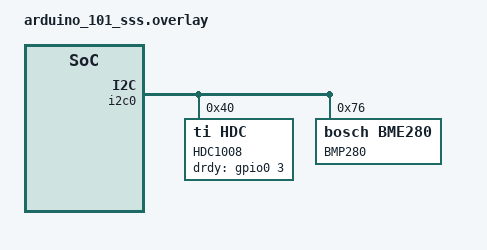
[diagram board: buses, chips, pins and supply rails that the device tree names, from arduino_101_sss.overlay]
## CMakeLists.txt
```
# SPDX-License-Identifier: Apache-2.0

cmake_minimum_required(VERSION 3.13.1)
include($ENV{ZEPHYR_BASE}/cmake/app/boilerplate.cmake NO_POLICY_SCOPE)
project(environmental_sensing_sensor)

target_include_directories(app PRIVATE $ENV{ZEPHYR_BASE}/drivers)
target_sources(app PRIVATE src/main.c)
```

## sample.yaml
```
sample:
  description: Environmental Sensing sample using BLE
    and sensor features on Arduino 101.
  name: Environmental Sensing (Sensor Subsystem Part)
tests:
  sample.board.arduino_101_sss.env_sensing:
    platform_whitelist: arduino_101_sss
    tags: sensors
    harness: sensor
```

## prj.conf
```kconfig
CONFIG_STDOUT_CONSOLE=y
CONFIG_PRINTK=y
CONFIG_IPM=y
CONFIG_IPM_QUARK_SE=y
CONFIG_IPM_CONSOLE_RECEIVER=y
CONFIG_CONSOLE=y
CONFIG_SERIAL=n
CONFIG_I2C=y
CONFIG_GPIO=y
CONFIG_SENSOR=y

# remove Grove configs you don't want to use the LCD
CONFIG_DISPLAY=y
CONFIG_GROVE_LCD_RGB=y

# change these configs if you want to use different sensors
CONFIG_BME280=y
CONFIG_TI_HDC=y
```

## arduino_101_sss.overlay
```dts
/*
 *
 * Copyright (c) 2018, NXP
 *
 * SPDX-License-Identifier: Apache-2.0
 */

&i2c0 {

	ti_hdc: ti_hdc@40 {
		compatible = "ti,hdc","ti,hdc1008";
		reg = <0x40>;
		label = "HDC1008";
		drdy-gpios = <&gpio0 3 0>;
	};

	bmp280@76 {
		compatible = "bosch,bme280";
		reg = <0x76>;
		label = "BMP280";
	};

};
```

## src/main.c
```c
/*
 * Copyright (c) 2016 Intel Corporation
 *
 * SPDX-License-Identifier: Apache-2.0
 */

#include <device.h>
#include <drivers/ipm.h>
#include <ipm/ipm_quark_se.h>
#include <sys/printk.h>
#include <misc/util.h>
#include <drivers/sensor.h>
#include <zephyr.h>

#ifdef CONFIG_GROVE_LCD_RGB
#include <display/grove_lcd.h>
#include <stdio.h>
#include <string.h>
#endif

QUARK_SE_IPM_DEFINE(ess_ipm, 0, QUARK_SE_IPM_OUTBOUND);

struct channel_info {
	int chan;
	char *dev_name;
};

/* change device names if you want to use different sensors */
static struct channel_info info[] = {
	{SENSOR_CHAN_AMBIENT_TEMP, "HDC1008"},
	{SENSOR_CHAN_HUMIDITY, "HDC1008"},
	{SENSOR_CHAN_PRESS, "BMP280"},
};

void main(void)
{
	struct device *ipm, *dev[ARRAY_SIZE(info)];
	struct sensor_value val[ARRAY_SIZE(info)];
	unsigned int i;
	int rc;

	ipm = device_get_binding("ess_ipm");
	if (ipm == NULL) {
		printk("Failed to get ESS IPM device\n");
		return;
	}


	for (i = 0U; i < ARRAY_SIZE(info); i++) {
		dev[i] = device_get_binding(info[i].dev_name);
		if (dev[i] == NULL) {
			printk("Failed to get \"%s\" device\n", info[i].dev_name);
			return;
		}
	}

#ifdef CONFIG_GROVE_LCD_RGB
	struct device *glcd;

	glcd = device_get_binding(GROVE_LCD_NAME);
	if (glcd == NULL) {
		printk("Failed to get Grove LCD\n");
		return;
	}

	/* configure LCD */
	glcd_function_set(glcd, GLCD_FS_ROWS_2 | GLCD_FS_DOT_SIZE_LITTLE |
			  GLCD_FS_8BIT_MODE);
	glcd_display_state_set(glcd, GLCD_DS_DISPLAY_ON);
#endif

	while (1) {
		/* fetch sensor samples */
		for (i = 0U; i < ARRAY_SIZE(info); i++) {
			rc = sensor_sample_fetch(dev[i]);
			if (rc) {
				printk("Failed to fetch sample for device %s (%d)\n",
				       info[i].dev_name, rc);
			}
		}

		/* send sensor data to x86 core via IPM */
		for (i = 0U; i < ARRAY_SIZE(info); i++) {
			rc = sensor_channel_get(dev[i], info[i].chan, &val[i]);
			if (rc) {
				printk("Failed to get data for device %s (%d)\n",
				       info[i].dev_name, rc);
				continue;
			}

			rc = ipm_send(ipm, 1, info[i].chan, &val[i], sizeof(val[i]));
			if (rc) {
				printk("Failed to send data for device %s (%d)\n",
				       info[i].dev_name, rc);
			}
		}

#ifdef CONFIG_GROVE_LCD_RGB
		char row[16];

		/* clear LCD */
		(void)memset(row, ' ', sizeof(row));
		glcd_cursor_pos_set(glcd, 0, 0);
		glcd_print(glcd, row, sizeof(row));
		glcd_cursor_pos_set(glcd, 0, 1);
		glcd_print(glcd, row, sizeof(row));

		/* display temperature on LCD */
		glcd_cursor_pos_set(glcd, 0, 0);
		sprintf(row, "T:%d.%d%cC", val[0].val1,
			val[0].val2/100000, 223 /* degree symbol */);
		glcd_print(glcd, row, strlen(row));

		/* display himidity on LCD */
		glcd_cursor_pos_set(glcd, 17 - strlen(row), 0);
		sprintf(row, "RH:%d%%", val[1].val1);
		glcd_print(glcd, row, strlen(row));

		/* display pressure on LCD */
		glcd_cursor_pos_set(glcd, 0, 1);
		sprintf(row, "P:%d.%02dkPa", val[2].val1,
		       val[2].val2 / 10000);
		glcd_print(glcd, row, strlen(row));
#endif

		k_sleep(K_MSEC(100));
	}
}
```
